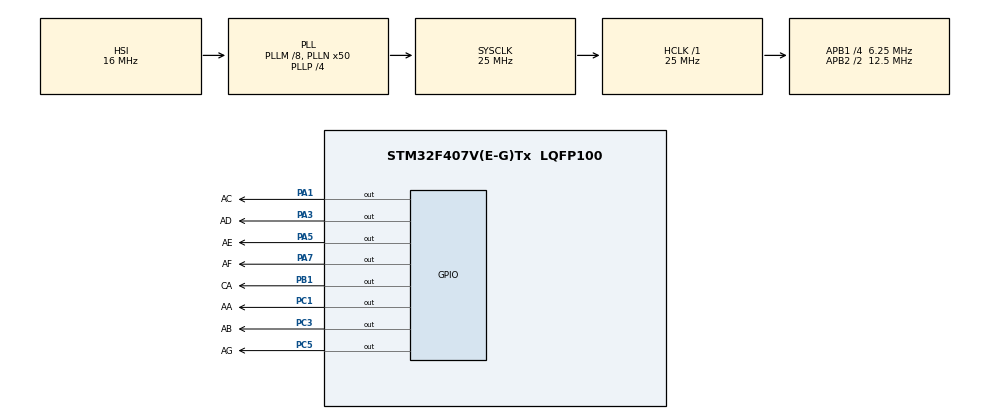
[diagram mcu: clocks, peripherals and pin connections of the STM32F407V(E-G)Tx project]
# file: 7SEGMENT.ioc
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Mcu.Family=STM32F4
Mcu.Name=STM32F407V(E-G)Tx
Mcu.Package=LQFP100
NVIC.PriorityGroup=NVIC_PRIORITYGROUP_0
NVIC.TIM1_UP_TIM10_IRQn=true\:0\:0\:false\:false\:true\:true\:true\:true
NVIC.TIM2_IRQn=true\:0\:0\:false\:false\:true\:true\:true\:true
PA1.GPIO_Label=AC
PA1.Signal=GPIO_Output
PA3.GPIO_Label=AD
PA3.Signal=GPIO_Output
PA5.GPIO_Label=AE
PA5.Signal=GPIO_Output
PA7.GPIO_Label=AF
PA7.Signal=GPIO_Output
PB1.GPIO_Label=CA
PB1.Signal=GPIO_Output
PC1.GPIO_Label=AA
PC1.Signal=GPIO_Output
PC3.GPIO_Label=AB
PC3.Signal=GPIO_Output
PC5.GPIO_Label=AG
PC5.Signal=GPIO_Output
PH0-OSC_IN.Mode=HSE-External-Oscillator
PH0-OSC_IN.Signal=RCC_OSC_IN
PH1-OSC_OUT.Mode=HSE-External-Oscillator
PH1-OSC_OUT.Signal=RCC_OSC_OUT
ProjectManager.HeapSize=0x200
ProjectManager.StackSize=0x400
ProjectManager.TargetToolchain=STM32CubeIDE
RCC.48MHZClocksFreq_Value=14285714.285714285
RCC.AHBFreq_Value=25000000
RCC.APB1CLKDivider=RCC_HCLK_DIV4
RCC.APB1Freq_Value=6250000
RCC.APB1TimFreq_Value=12500000
RCC.APB2CLKDivider=RCC_HCLK_DIV2
RCC.APB2Freq_Value=12500000
RCC.APB2TimFreq_Value=25000000
RCC.CortexFreq_Value=25000000
RCC.HCLKFreq_Value=25000000
RCC.HSE_VALUE=8000000
RCC.HSI_VALUE=16000000
RCC.PLLM=8
RCC.PLLN=50
RCC.PLLP=RCC_PLLP_DIV4
RCC.PLLQ=7
RCC.SYSCLKFreq_VALUE=25000000
RCC.SYSCLKSource=RCC_SYSCLKSOURCE_PLLCLK
RCC.VCOOutputFreq_Value=100000000
TIM1.Period=999
TIM1.Prescaler=125
TIM2.Period=999
TIM2.Prescaler=24999
VP_TIM1_VS_ClockSourceINT.Mode=Internal
VP_TIM2_VS_ClockSourceINT.Mode=Internal
board=STM32F407G-DISC1

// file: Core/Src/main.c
/* USER CODE BEGIN Header */
/**
  ******************************************************************************
  * @file           : main.c
  * @brief          : Main program body
  ******************************************************************************
  */
/* USER CODE END Header */
#include "main.h"

/* USER CODE BEGIN PTD */

typedef struct {
	GPIO_TypeDef *port;
	uint16_t pin;
} sevenSeg;

/* USER CODE END PTD */

/* USER CODE BEGIN PD */

enum {
	SEG_A = 0,
	SEG_B,
	SEG_C,
	SEG_D,
	SEG_E,
	SEG_F,
	SEG_G
};

sevenSeg segment[7];

/* USER CODE END PD */

TIM_HandleTypeDef htim1;
TIM_HandleTypeDef htim2;

/* USER CODE BEGIN PV */

typedef enum {
	ZERO  = 0x3F, // 00111111
	ONE   = 0x06,
	TWO   = 0x5B,
	THREE = 0x4F,
	FOUR  = 0x66,
	FIVE  = 0x6D,
	SIX   = 0x7D,
	SEVEN = 0x07,
	EIGHT = 0x7F,
	NINE  = 0x6F
} digitNumber;

digitNumber digits[] = {ZERO, ONE, TWO, THREE, FOUR, FIVE, SIX, SEVEN, EIGHT, NINE};
int index = 0;
GPIO_PinState toggleState = 0;
uint8_t leftDigit = 0;
uint8_t rightDigit = 0;

/* USER CODE END PV */

void SystemClock_Config(void);
static void MX_GPIO_Init(void);
static void MX_TIM1_Init(void);
static void MX_TIM2_Init(void);
/* USER CODE BEGIN PFP */

void setNumber(digitNumber x);
void init7Seg();
void repeatNumbers();
void toggleSwitch();

/* USER CODE END PFP */

/* USER CODE BEGIN 0 */

void toggleSwitch(){
	  HAL_GPIO_TogglePin(CA_GPIO_Port, CA_Pin);
}

void setNumber(digitNumber x) {
	for (int i = 0; i < 7; i++) {
		GPIO_PinState state = (x & (1 << i)) ? GPIO_PIN_SET : GPIO_PIN_RESET;
		HAL_GPIO_WritePin(segment[i].port, segment[i].pin, state);
	}
}

void init7Seg(){
	  segment[SEG_A] = (sevenSeg){GPIOC, AA_Pin};
	  segment[SEG_B] = (sevenSeg){GPIOC, AB_Pin};
	  segment[SEG_C] = (sevenSeg){GPIOA, AC_Pin};
	  segment[SEG_D] = (sevenSeg){GPIOA, AD_Pin};
	  segment[SEG_E] = (sevenSeg){GPIOA, AE_Pin};
	  segment[SEG_F] = (sevenSeg){GPIOA, AF_Pin};
	  segment[SEG_G] = (sevenSeg){GPIOC, AG_Pin};
}

/* USER CODE END 0 */

int main(void)
{

  /* MCU Configuration--------------------------------------------------------*/

  /* Reset of all peripherals, Initializes the Flash interface and the Systick. */
  HAL_Init();

  /* USER CODE BEGIN Init */
  init7Seg();
  /* USER CODE END Init */

  /* Configure the system clock */
  SystemClock_Config();

  /* Initialize all configured peripherals */
  MX_GPIO_Init();
  MX_TIM1_Init();
  MX_TIM2_Init();
  /* USER CODE BEGIN 2 */
  HAL_TIM_Base_Start_IT(&htim1);
  HAL_TIM_Base_Start_IT(&htim2);

  /* USER CODE END 2 */

  /* Infinite loop */
  while (1)
  {

  }
}

void SystemClock_Config(void)
{
  RCC_OscInitTypeDef RCC_OscInitStruct = {0};
  RCC_ClkInitTypeDef RCC_ClkInitStruct = {0};

  /** Configure the main internal regulator output voltage
  */
  __HAL_RCC_PWR_CLK_ENABLE();
  __HAL_PWR_VOLTAGESCALING_CONFIG(PWR_REGULATOR_VOLTAGE_SCALE1);

  /** Initializes the RCC Oscillators according to the specified parameters
  * in the RCC_OscInitTypeDef structure.
  */
  RCC_OscInitStruct.OscillatorType = RCC_OSCILLATORTYPE_HSI;
  RCC_OscInitStruct.HSIState = RCC_HSI_ON;
  RCC_OscInitStruct.HSICalibrationValue = RCC_HSICALIBRATION_DEFAULT;
  RCC_OscInitStruct.PLL.PLLState = RCC_PLL_ON;
  RCC_OscInitStruct.PLL.PLLSource = RCC_PLLSOURCE_HSI;
  RCC_OscInitStruct.PLL.PLLM = 8;
  RCC_OscInitStruct.PLL.PLLN = 50;
  RCC_OscInitStruct.PLL.PLLP = RCC_PLLP_DIV4;
  RCC_OscInitStruct.PLL.PLLQ = 7;
  if (HAL_RCC_OscConfig(&RCC_OscInitStruct) != HAL_OK)
  {
    Error_Handler();
  }

  /** Initializes the CPU, AHB and APB buses clocks
  */
  RCC_ClkInitStruct.ClockType = RCC_CLOCKTYPE_HCLK|RCC_CLOCKTYPE_SYSCLK
                              |RCC_CLOCKTYPE_PCLK1|RCC_CLOCKTYPE_PCLK2;
  RCC_ClkInitStruct.SYSCLKSource = RCC_SYSCLKSOURCE_PLLCLK;
  RCC_ClkInitStruct.AHBCLKDivider = RCC_SYSCLK_DIV1;
  RCC_ClkInitStruct.APB1CLKDivider = RCC_HCLK_DIV4;
  RCC_ClkInitStruct.APB2CLKDivider = RCC_HCLK_DIV2;

  if (HAL_RCC_ClockConfig(&RCC_ClkInitStruct, FLASH_LATENCY_0) != HAL_OK)
  {
    Error_Handler();
  }
}

static void MX_TIM1_Init(void)
{

  TIM_ClockConfigTypeDef sClockSourceConfig = {0};
  TIM_MasterConfigTypeDef sMasterConfig = {0};

  htim1.Instance = TIM1;
  htim1.Init.Prescaler = 125;
  htim1.Init.CounterMode = TIM_COUNTERMODE_UP;
  htim1.Init.Period = 999;
  htim1.Init.ClockDivision = TIM_CLOCKDIVISION_DIV1;
  htim1.Init.RepetitionCounter = 0;
  htim1.Init.AutoReloadPreload = TIM_AUTORELOAD_PRELOAD_DISABLE;
  if (HAL_TIM_Base_Init(&htim1) != HAL_OK)
  {
    Error_Handler();
  }
  sClockSourceConfig.ClockSource = TIM_CLOCKSOURCE_INTERNAL;
  if (HAL_TIM_ConfigClockSource(&htim1, &sClockSourceConfig) != HAL_OK)
  {
    Error_Handler();
  }
  sMasterConfig.MasterOutputTrigger = TIM_TRGO_RESET;
  sMasterConfig.MasterSlaveMode = TIM_MASTERSLAVEMODE_DISABLE;
  if (HAL_TIMEx_MasterConfigSynchronization(&htim1, &sMasterConfig) != HAL_OK)
  {
    Error_Handler();
  }

}

static void MX_TIM2_Init(void)
{

  TIM_ClockConfigTypeDef sClockSourceConfig = {0};
  TIM_MasterConfigTypeDef sMasterConfig = {0};

  htim2.Instance = TIM2;
  htim2.Init.Prescaler = 15000;
  htim2.Init.CounterMode = TIM_COUNTERMODE_UP;
  htim2.Init.Period = 999;
  htim2.Init.ClockDivision = TIM_CLOCKDIVISION_DIV1;
  htim2.Init.AutoReloadPreload = TIM_AUTORELOAD_PRELOAD_DISABLE;
  if (HAL_TIM_Base_Init(&htim2) != HAL_OK)
  {
    Error_Handler();
  }
  sClockSourceConfig.ClockSource = TIM_CLOCKSOURCE_INTERNAL;
  if (HAL_TIM_ConfigClockSource(&htim2, &sClockSourceConfig) != HAL_OK)
  {
    Error_Handler();
  }
  sMasterConfig.MasterOutputTrigger = TIM_TRGO_RESET;
  sMasterConfig.MasterSlaveMode = TIM_MASTERSLAVEMODE_DISABLE;
  if (HAL_TIMEx_MasterConfigSynchronization(&htim2, &sMasterConfig) != HAL_OK)
  {
    Error_Handler();
  }

}

static void MX_GPIO_Init(void)
{
  GPIO_InitTypeDef GPIO_InitStruct = {0};

  /* GPIO Ports Clock Enable */
  __HAL_RCC_GPIOH_CLK_ENABLE();
  __HAL_RCC_GPIOC_CLK_ENABLE();
  __HAL_RCC_GPIOA_CLK_ENABLE();
  __HAL_RCC_GPIOB_CLK_ENABLE();

  /*Configure GPIO pin Output Level */
  HAL_GPIO_WritePin(GPIOC, AA_Pin|AB_Pin|AG_Pin, GPIO_PIN_RESET);

  /*Configure GPIO pin Output Level */
  HAL_GPIO_WritePin(GPIOA, AC_Pin|AD_Pin|AE_Pin|AF_Pin, GPIO_PIN_RESET);

  /*Configure GPIO pin Output Level */
  HAL_GPIO_WritePin(CA_GPIO_Port, CA_Pin, GPIO_PIN_RESET);

  /*Configure GPIO pins : AA_Pin AB_Pin AG_Pin */
  GPIO_InitStruct.Pin = AA_Pin|AB_Pin|AG_Pin;
  GPIO_InitStruct.Mode = GPIO_MODE_OUTPUT_PP;
  GPIO_InitStruct.Pull = GPIO_NOPULL;
  GPIO_InitStruct.Speed = GPIO_SPEED_FREQ_LOW;
  HAL_GPIO_Init(GPIOC, &GPIO_InitStruct);

  /*Configure GPIO pins : AC_Pin AD_Pin AE_Pin AF_Pin */
  GPIO_InitStruct.Pin = AC_Pin|AD_Pin|AE_Pin|AF_Pin;
  GPIO_InitStruct.Mode = GPIO_MODE_OUTPUT_PP;
  GPIO_InitStruct.Pull = GPIO_NOPULL;
  GPIO_InitStruct.Speed = GPIO_SPEED_FREQ_LOW;
  HAL_GPIO_Init(GPIOA, &GPIO_InitStruct);

  /*Configure GPIO pin : CA_Pin */
  GPIO_InitStruct.Pin = CA_Pin;
  GPIO_InitStruct.Mode = GPIO_MODE_OUTPUT_PP;
  GPIO_InitStruct.Pull = GPIO_NOPULL;
  GPIO_InitStruct.Speed = GPIO_SPEED_FREQ_LOW;
  HAL_GPIO_Init(CA_GPIO_Port, &GPIO_InitStruct);

}

/* USER CODE BEGIN 4 */
void HAL_TIM_PeriodElapsedCallback(TIM_HandleTypeDef *htim)
{
    if (htim->Instance == TIM1)
    {
        toggleState = !toggleState;

        if (toggleState)
        {
            HAL_GPIO_WritePin(CA_GPIO_Port, CA_Pin, GPIO_PIN_RESET);
            setNumber(digits[rightDigit]);
        }
        else
        {
            HAL_GPIO_WritePin(CA_GPIO_Port, CA_Pin, GPIO_PIN_SET);
            setNumber(digits[leftDigit]);
        }
    }
    else if (htim->Instance == TIM2)
    {
        rightDigit++;
        if (rightDigit > 9) {
            rightDigit = 0;
            leftDigit = (leftDigit + 1) % 10;
        }
    }
}

/* USER CODE END 4 */

void Error_Handler(void)
{
  __disable_irq();
  while (1)
  {
  }
}
